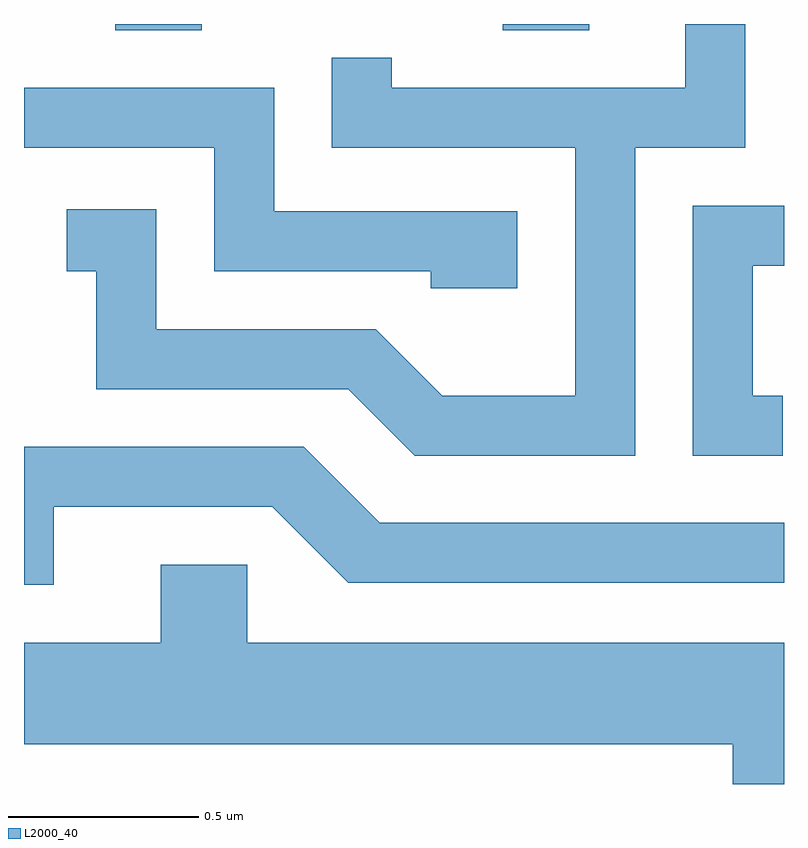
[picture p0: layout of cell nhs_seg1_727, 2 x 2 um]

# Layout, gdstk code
import gdstk
lib = gdstk.Library(unit=1e-6, precision=1e-09)
def R(c, l, rs):  # rectangles x0, y0, x1, y1
    for r in rs: c.add(gdstk.rectangle(r[:2], r[2:], *l))
def P(c, l, *ps):  # polygons
    for p in ps: c.add(gdstk.Polygon(p, *l))
L2000_40 = (2000, 40)

nhs_seg1_727 = lib.new_cell('nhs_seg1_727')
R(nhs_seg1_727, L2000_40, [(190.851,883.696,191.079,883.712), (191.871,883.696,192.099,883.712)])
P(nhs_seg1_727, L2000_40, [(192.219,883.386),(192.509,883.386),(192.509,883.712),(192.351,883.712),(192.351,883.544),(191.579,883.544),(191.579,883.623),(191.421,883.623),(191.421,883.386),(192.061,883.386),(192.061,882.734),(191.712,882.734),(191.537,882.909),(190.959,882.909),(190.959,883.224),(190.723,883.224),(190.723,883.061),(190.801,883.061),(190.801,882.751),(191.464,882.751),(191.639,882.576),(192.219,882.576)],
  [(191.909,883.219),(191.269,883.219),(191.269,883.544),(190.611,883.544),(190.611,883.386),(191.111,883.386),(191.111,883.061),(191.681,883.061),(191.681,883.016),(191.909,883.016)],
  [(192.608,882.734),(192.529,882.734),(192.529,883.076),(192.611,883.076),(192.611,883.234),(192.371,883.234),(192.371,882.576),(192.608,882.576)],
  [(190.689,882.441),(191.264,882.441),(191.464,882.241),(192.611,882.241),(192.611,882.399),(191.547,882.399),(191.347,882.599),(190.611,882.599),(190.611,882.236),(190.689,882.236)],
  [(192.611,882.084),(191.199,882.084),(191.199,882.289),(190.971,882.289),(190.971,882.084),(190.611,882.084),(190.611,881.816),(192.476,881.816),(192.476,881.712),(192.611,881.712)])

lib.write_gds('nhs_seg1_727.gds')
